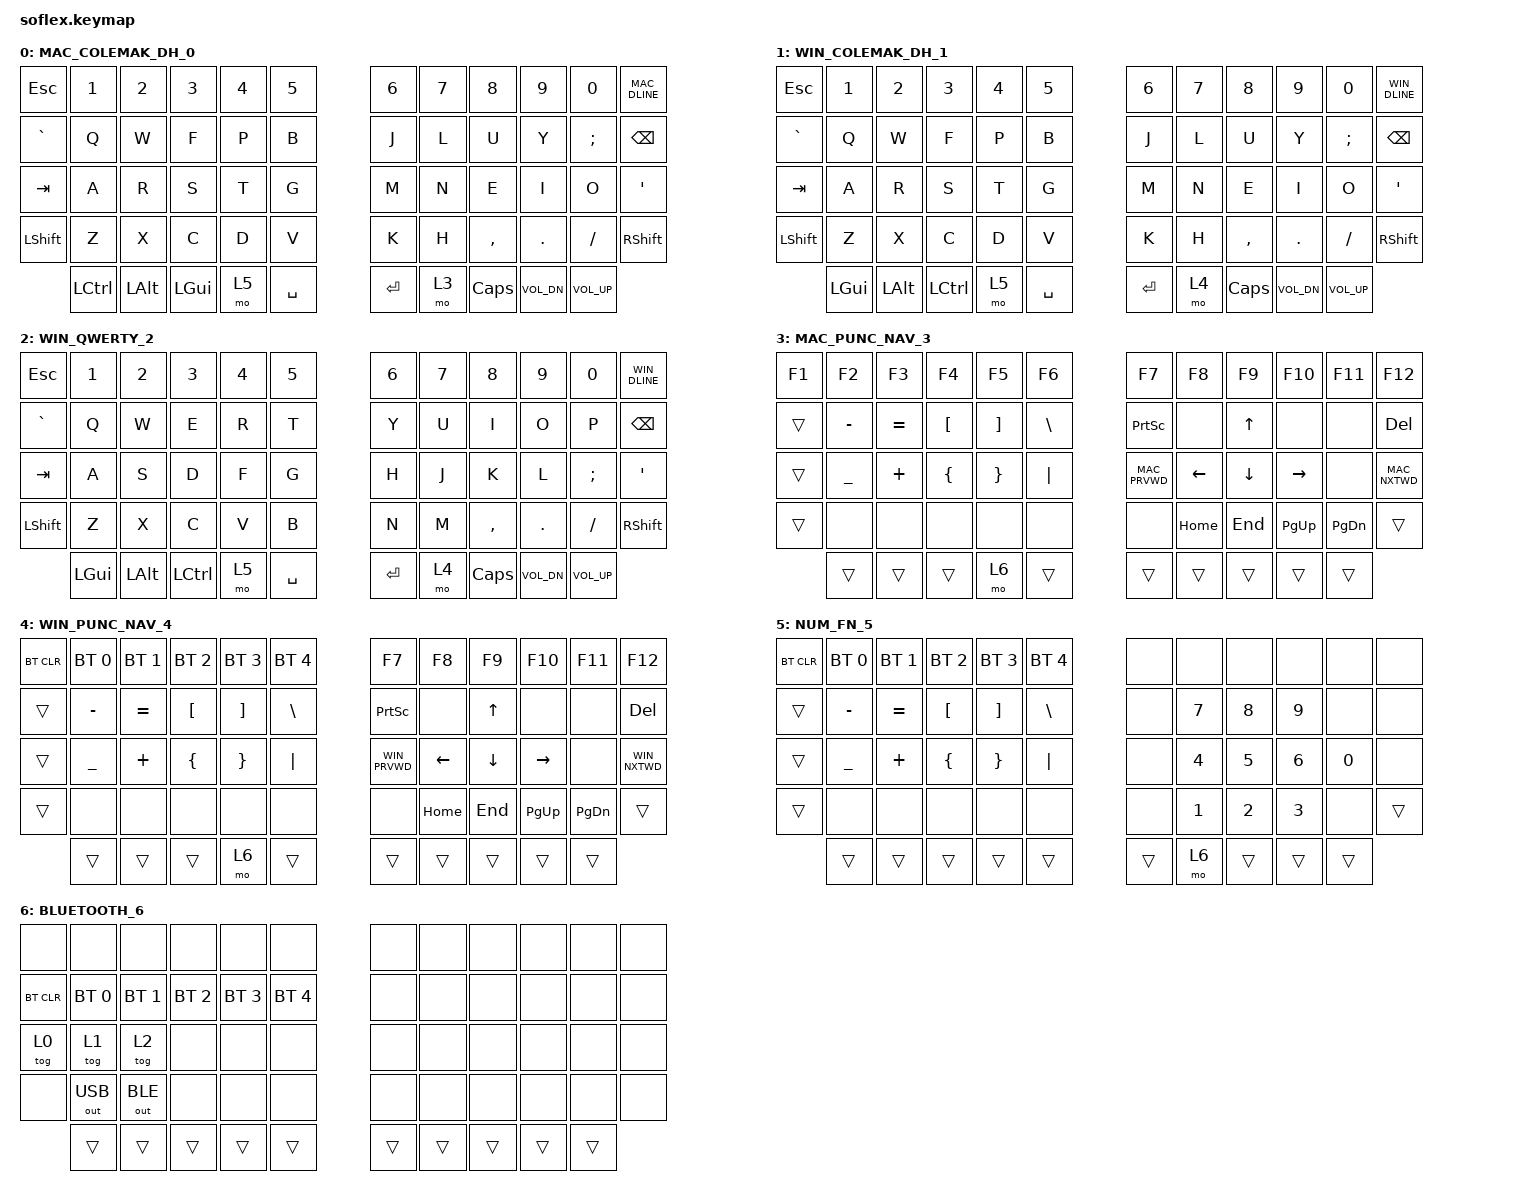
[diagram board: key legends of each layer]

/*
 * Copyright (c) 2020 The ZMK Contributors
 *
 * SPDX-License-Identifier: MIT
 */

#include <behaviors.dtsi>
#include <dt-bindings/zmk/keys.h>
#include <dt-bindings/zmk/bt.h>
#include <dt-bindings/zmk/ext_power.h>
#include <dt-bindings/zmk/outputs.h>

#define AS(keycode) &as LS(keycode) keycode     // Autoshift Macro

/*
&mt {
    tapping-term-ms = <100>;
};
*/


/ {
    macros {
        /****** for MAC ******/
        ZMK_MACRO(MAC_DLINE,
            wait-ms = <0>;
            tap-ms = <0>;
            bindings
                = <&macro_press &kp LALT>
                , <&macro_tap &kp BSPC>
                , <&macro_release &kp LALT>
                ;
        )
        ZMK_MACRO(MAC_PRVWD,
            wait-ms = <0>;
            tap-ms = <0>;
            bindings
                = <&macro_press &kp LALT>
                , <&macro_tap &kp LEFT>
                , <&macro_release &kp LALT>
                ;
        )
        ZMK_MACRO(MAC_NXTWD,
            wait-ms = <0>;
            tap-ms = <0>;
            bindings
                = <&macro_press &kp LALT>
                , <&macro_tap &kp RIGHT>
                , <&macro_release &kp LALT>
                ;
        )
        ZMK_MACRO(MAC_FRTLT,
            wait-ms = <0>;
            tap-ms = <0>;
            bindings
                = <&macro_press &kp LGUI>
                , <&macro_tap &kp LEFT>
                , <&macro_release &kp LGUI>
                ;
        )
        ZMK_MACRO(MAC_LSTLT,
            wait-ms = <0>;
            tap-ms = <0>;
            bindings
                = <&macro_press &kp LGUI>
                , <&macro_tap &kp RIGHT>
                , <&macro_release &kp LGUI>
                ;
        )

        /****** for WIN ******/
        ZMK_MACRO(WIN_DLINE,
            wait-ms = <0>;
            tap-ms = <0>;
            bindings
                = <&macro_press &kp LCTRL>
                , <&macro_tap &kp BSPC>
                , <&macro_release &kp LCTRL>
                ;
        )
        ZMK_MACRO(WIN_PRVWD,
            wait-ms = <0>;
            tap-ms = <0>;
            bindings
                = <&macro_press &kp LCTRL>
                , <&macro_tap &kp LEFT>
                , <&macro_release &kp LCTRL>
                ;
        )
        ZMK_MACRO(WIN_NXTWD,
            wait-ms = <0>;
            tap-ms = <0>;
            bindings
                = <&macro_press &kp LCTRL>
                , <&macro_tap &kp RIGHT>
                , <&macro_release &kp LCTRL>
                ;
        )
        ZMK_MACRO(WIN_FRTLT,
            wait-ms = <0>;
            tap-ms = <0>;
            bindings
                = <&macro_press &kp LCTRL>
                , <&macro_tap &kp HOME>
                , <&macro_release &kp LCTRL>
                ;
        )
        ZMK_MACRO(WIN_LSTLT,
            wait-ms = <0>;
            tap-ms = <0>;
            bindings
                = <&macro_press &kp LCTRL>
                , <&macro_tap &kp END>
                , <&macro_release &kp LCTRL>
                ;
        )
    };


    // conditional_layers {
    //     compatible = "zmk,conditional-layers";
    //     tri_layer {
    //         if-layers = <6 4>;
    //         then-layer = <7>;
    //     };

    //     tri_layer_2 {
    //         if-layers = <6 5>;
    //         then-layer = <7>;
    //     };
    // };

    combos {
        compatible = "zmk,combos";
        combo_clearBT {
            timeout-ms = <135>;
            key-positions = <0 5>;
            bindings = <&bt BT_CLR>;
        };
        combo_BT1 {
            timeout-ms = <135>;
            key-positions = <0 1>;
            bindings = <&bt BT_SEL 0>;
        };
        combo_BT2 {
            timeout-ms = <135>;
            key-positions = <0 2>;
            bindings = <&bt BT_SEL 1>;
        };
        combo_BT3 {
            timeout-ms = <135>;
            key-positions = <0 3>;
            bindings = <&bt BT_SEL 2>;
        };
        combo_BT4 {
            timeout-ms = <135>;
            key-positions = <0 4>;
            bindings = <&bt BT_SEL 3>;
        };


        combo_MacQwer {
            timeout-ms = <135>;
            key-positions = <0 14>;
            bindings = <&tog 1>;
            layers = <0>;
        };
        combo_WinColm {
            timeout-ms = <135>;
            key-positions = <0 15>;
            bindings = <&tog 2>;
            layers = <0>;
        };
        combo_WinQwer {
            timeout-ms = <135>;
            key-positions = <0 16>;
            bindings = <&tog 3>;
            layers = <0>;
        };
        combo_OutUSB {
            timeout-ms = <135>;
            key-positions = <0 26>;
            bindings = <&out OUT_USB>;
            layers = <0>;
        };
        combo_OutBLE {
            timeout-ms = <135>;
            key-positions = <0 27>;
            bindings = <&out OUT_BLE>;
            layers = <0>;
        };


        combo_Check1 {
            layers = <0>;
            timeout-ms = <135>;
            key-positions = <56 57>;
            bindings = <&kp N1>;
        };
        combo_Check2 {
            layers = <1>;
            timeout-ms = <135>;
            key-positions = <56 57>;
            bindings = <&kp N2>;
        };
        combo_Check3 {
            layers = <2>;
            timeout-ms = <135>;
            key-positions = <56 57>;
            bindings = <&kp N3>;
        };
        combo_Check4 {
            layers = <3>;
            timeout-ms = <135>;
            key-positions = <56 57>;
            bindings = <&kp N4>;
        };
    };


    behaviors {
        as: auto_shift {
            compatible = "zmk,behavior-hold-tap";
            label = "AUTO_SHIFT";
            #binding-cells = <2>;
            tapping_term_ms = <135>;
            quick_tap_ms = <0>;
            flavor = "tap-preferred";
            bindings = <&kp>, <&kp>;
        };
    };



    keymap {
        compatible = "zmk,keymap";

/******* BASE LAYER -- MAC ********/
        MAC_COLEMAK_DH_0 {
            bindings = < 
&kp ESC     &kp N1      &kp N2      &kp N3      &kp N4      &kp N5                  &kp N6      &kp N7      &kp N8      &kp N9          &kp N0          &MAC_DLINE
&kp GRAVE   &kp Q       &kp W       &kp F       &kp P       &kp B                   &kp J       &kp L       &kp U       &kp Y           &kp SEMI        &kp BSPC
&kp TAB     &kp A       &kp R       &kp S       &kp T       &kp G                   &kp M       &kp N       &kp E       &kp I           &kp O           &kp SQT
&kp LSHFT   &kp Z       &kp X       &kp C       &kp D       &kp V                   &kp K       &kp H       &kp COMMA   &kp DOT         &kp FSLH        &kp RSHFT
            &kp LCTRL   &kp LALT    &kp LGUI    &mo 5       &kp SPACE               &kp RET     &mo 3       &kp CLCK    &kp C_VOL_DN    &kp C_VOL_UP
            >;
        };


/******* BASE LAYER -- WIN ********/
        WIN_COLEMAK_DH_1 {
            bindings = <
&kp ESC     &kp N1      &kp N2      &kp N3      &kp N4      &kp N5                  &kp N6      &kp N7      &kp N8      &kp N9          &kp N0          &WIN_DLINE
&kp GRAVE   &kp Q       &kp W       &kp F       &kp P       &kp B                   &kp J       &kp L       &kp U       &kp Y           &kp SEMI        &kp BSPC
&kp TAB     &kp A       &kp R       &kp S       &kp T       &kp G                   &kp M       &kp N       &kp E       &kp I           &kp O           &kp SQT
&kp LSHFT   &kp Z       &kp X       &kp C       &kp D       &kp V                   &kp K       &kp H       &kp COMMA   &kp DOT         &kp FSLH        &kp RSHFT
            &kp LGUI    &kp LALT    &kp LCTRL   &mo 5       &kp SPACE               &kp RET     &mo 4       &kp CLCK    &kp C_VOL_DN    &kp C_VOL_UP
            >;
        };
        WIN_QWERTY_2 {
            bindings = <
&kp ESC     &kp N1      &kp N2      &kp N3      &kp N4      &kp N5                  &kp N6      &kp N7      &kp N8      &kp N9          &kp N0          &WIN_DLINE
&kp GRAVE   &kp Q       &kp W       &kp E       &kp R       &kp T                   &kp Y       &kp U       &kp I       &kp O           &kp P           &kp BSPC
&kp TAB     &kp A       &kp S       &kp D       &kp F       &kp G                   &kp H       &kp J       &kp K       &kp L           &kp SEMI        &kp SQT
&kp LSHFT   &kp Z       &kp X       &kp C       &kp V       &kp B                   &kp N       &kp M       &kp COMMA   &kp DOT         &kp FSLH        &kp RSHFT
            &kp LGUI    &kp LALT    &kp LCTRL   &mo 5       &kp SPACE               &kp RET     &mo 4       &kp CLCK    &kp C_VOL_DN    &kp C_VOL_UP
            >;
        };

/****** MACRO LAYER ******/
        MAC_PUNC_NAV_3 {
            bindings = <
&kp F1      &kp F2      &kp F3      &kp F4      &kp F5      &kp F6              &kp F7      &kp F8      &kp F9      &kp F10     &kp F11     &kp F12               
&trans      &kp MINUS   &kp EQUAL   &kp LBKT    &kp RBKT    &kp BSLH            &kp PSCRN   &none       &kp UP      &none       &none       &kp DEL
&trans      &kp UNDER   &kp PLUS    &kp LBRC    &kp RBRC    &kp PIPE            &MAC_PRVWD  &kp LEFT    &kp DOWN    &kp RIGHT   &none       &MAC_NXTWD  
&trans      &none       &none       &none       &none       &none               &none       &kp HOME    &kp END     &kp PG_UP   &kp PG_DN   &trans
            &trans      &trans      &trans      &mo 6       &trans              &trans      &trans      &trans      &trans      &trans
            >;
        };

        WIN_PUNC_NAV_4 {
            bindings = <
&bt BT_CLR  &bt BT_SEL 0    &bt BT_SEL 1    &bt BT_SEL 2    &bt BT_SEL 3    &bt BT_SEL 4              &kp F7      &kp F8      &kp F9      &kp F10     &kp F11     &kp F12
&trans      &kp MINUS   &kp EQUAL   &kp LBKT    &kp RBKT    &kp BSLH            &kp PSCRN   &none       &kp UP      &none       &none       &kp DEL
&trans      &kp UNDER   &kp PLUS    &kp LBRC    &kp RBRC    &kp PIPE            &WIN_PRVWD  &kp LEFT    &kp DOWN    &kp RIGHT   &none       &WIN_NXTWD
&trans      &none       &none       &none       &none       &none               &none       &kp HOME    &kp END     &kp PG_UP   &kp PG_DN   &trans
            &trans      &trans      &trans      &mo 6       &trans              &trans      &trans      &trans      &trans      &trans
            >;
        };


/****** SHARE LAYER ******/ 
//         NUM_FN_5 {
//             bindings = <
// &none       &none       &none       &none       &none       &none               &none       &none       &none       &none       &none       &none 
// &trans      &none       &none       &none       &none       &none               &none       &none       &none       &none       &none       &kp DEL
// &trans      &kp MINUS   &kp EQUAL   &kp LBKT    &kp RBKT    &kp BSLH            &kp F1      &kp F2      &kp F3      &kp F4      &kp F5      &kp F6
// &trans      &none       &none       &none       &kp TILDE   &kp GRAV            &kp F7      &kp F8      &kp F9      &kp F10     &kp F11     &kp F12
//             &trans      &trans      &trans      &mo 6       &trans              &trans      &trans      &trans      &trans      &trans
//             >;
//         };
        NUM_FN_5 {
            bindings = <
&bt BT_CLR  &bt BT_SEL 0    &bt BT_SEL 1    &bt BT_SEL 2    &bt BT_SEL 3    &bt BT_SEL 4               &none       &none       &none       &none       &none       &none  
&trans      &kp MINUS   &kp EQUAL   &kp LBKT    &kp RBKT    &kp BSLH            &none       &kp N7      &kp N8      &kp N9      &none       &none
&trans      &kp UNDER   &kp PLUS    &kp LBRC    &kp RBRC    &kp PIPE            &none       &kp N4      &kp N5      &kp N6      &kp N0      &none
&trans      &none       &none       &none       &none       &none               &none       &kp N1      &kp N2      &kp N3      &none       &trans
            &trans      &trans      &trans      &trans      &trans              &trans      &mo 6       &trans      &trans      &trans
            >;
        };


/****** BLUETOOTH LAYER ******/
        BLUETOOTH_6 {
            bindings = <
&none       &none           &none           &none           &none           &none               &none       &none           &none           &none           &none           &none 
&bt BT_CLR  &bt BT_SEL 0    &bt BT_SEL 1    &bt BT_SEL 2    &bt BT_SEL 3    &bt BT_SEL 4        &none       &none           &none           &none           &none           &none       
&tog 0      &tog 1          &tog 2          &none           &none           &none               &none       &none           &none           &none           &none           &none
&none       &out OUT_USB    &out OUT_BLE    &none           &none           &none               &none       &none           &none           &none           &none           &none
            &trans          &trans          &trans          &trans          &trans              &trans      &trans          &trans          &trans          &trans
            >;
        };


    };
};
